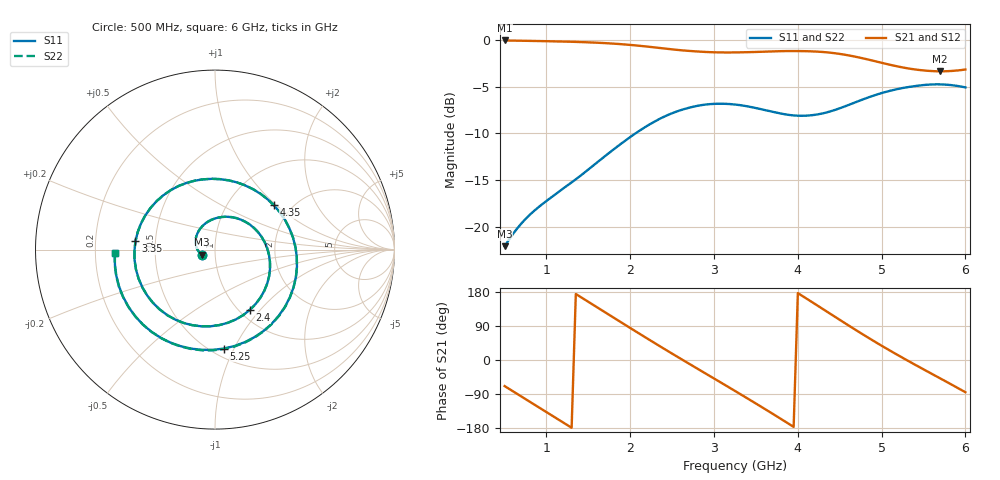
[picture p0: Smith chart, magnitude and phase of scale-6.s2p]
! Touchstone file from project sampleWidthScale-6
! Exported from HFSS-IE 2014.0.2
! Variables:
!  $perm = 6
!  impedance = 157.9ohm
!  insulationThickness = 0in
!  length = 4in
!  portSize = 1mm
!  sampleSide = 0.75in
!  sampleThickness = 0.25in
!  scale = 6
!  spacing = 0.25in
!  wireDiam = 0.125in
!  wireRadius = 0.0625in
# GHZ S MA R 157.900000
! Terminal data exported
! Port[1] = Rectangle2_T1
! Port[2] = Rectangle2_T2
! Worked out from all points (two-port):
!   111 points, 500 MHz to 6 GHz, reference 157.9 ohm
!   highest |S21| = -0.03 dB at 500 MHz (marker M1); lowest = -3.3 dB at 5.7 GHz (marker M2)
!   |S21| within 3 dB of the highest: start of sweep to 5.32 GHz
!   lowest |S11| = -22.1 dB at 500 MHz (marker M3), VSWR 1.17, Z = 136 - j7.6 ohm
!   |S11| at or under -10 dB: start of sweep to 2.062 GHz
!   |S22| runs from -22.1 to -4.7 dB; largest |S21 - S12| = 3e-15
!   S11 on the Smith chart (normalised r, x): 500 MHz: 0.86, -0.05; 2.4 GHz: 1.12, -0.88; 3.35 GHz: 0.38, +0.04; 4.35 GHz: 1.62, +0.96; 5.25 GHz: 0.57, -0.91; 6 GHz: 0.28, -0.02
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0.5  0.07864 -159.3  0.9961 -68.8  0.9961 -68.8  0.07865 -159.1
0.75  0.11 166.2  0.9917 -103.2  0.9917 -103.2  0.11 166.5
1.05  0.1429 125.1  0.9858 -144.4  0.9858 -144.4  0.1428 125.3
1.25  0.1665 97.6  0.9813 -172.0  0.9813 -172.0  0.1664 97.8
1.45  0.1945 70.2  0.975 160.4  0.975 160.4  0.1945 70.3
1.7  0.2392 35.6  0.9638 125.8  0.9638 125.8  0.2391 35.7
1.9  0.2806 8.0  0.9508 98.2  0.9508 98.2  0.2806 8.1
2.1  0.3247 -19.4  0.9336 70.7  0.9336 70.7  0.3251 -19.3
2.35  0.3783 -53.2  0.908 36.8  0.908 36.8  0.3786 -53.2
2.4  0.388 -59.9  0.9027 30.1  0.9027 30.1  0.3883 -59.9
2.8  0.4444 -112.9  0.8695 -22.7  0.8695 -22.7  0.4442 -112.9
3.25  0.4518 -172.5  0.8594 -81.7  0.8594 -81.7  0.452 -172.5
3.35  0.4455 174.1  0.8609 -94.9  0.8609 -94.9  0.4457 174.1
3.8  0.404 113.1  0.8727 -155.7  0.8727 -155.7  0.404 113.1
4  0.3935 85.8  0.8737 176.5  0.8737 176.5  0.3936 85.7
4.2  0.3976 58.0  0.8693 148.5  0.8693 148.5  0.398 57.9
4.35  0.4105 37.0  0.8598 127.2  0.8598 127.2  0.4109 36.9
4.7  0.4667 -12.0  0.8128 78.1  0.8128 78.1  0.4667 -11.9
5.1  0.5351 -65.8  0.738 24.8  0.738 24.8  0.537 -65.5
5.25  0.5535 -84.8  0.7142 5.9  0.7142 5.9  0.556 -84.6
5.7  0.5793 -140.2  0.6806 -48.6  0.6806 -48.6  0.5794 -140.3
6  0.558 -178.0  0.6962 -85.0  0.6962 -85.0  0.5591 -178.0
